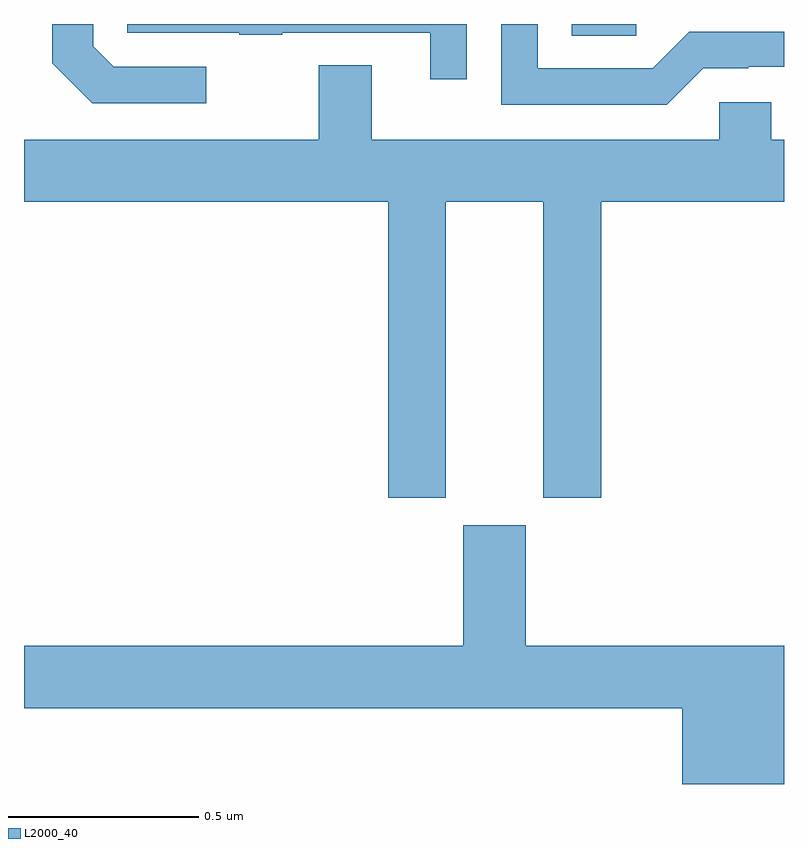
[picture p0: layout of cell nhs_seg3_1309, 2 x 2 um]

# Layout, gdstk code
import gdstk
lib = gdstk.Library(unit=1e-6, precision=1e-09)
def R(c, l, rs):  # rectangles x0, y0, x1, y1
    for r in rs: c.add(gdstk.rectangle(r[:2], r[2:], *l))
def P(c, l, *ps):  # polygons
    for p in ps: c.add(gdstk.Polygon(p, *l))
L2000_40 = (2000, 40)

nhs_seg3_1309 = lib.new_cell('nhs_seg3_1309')
R(nhs_seg3_1309, L2000_40, [(128.442,685.369,128.611,685.4)])
P(nhs_seg3_1309, L2000_40, [(127.48,685.287),(127.236,685.287),(127.182,685.341),(127.182,685.4),(127.074,685.4),(127.074,685.297),(127.179,685.191),(127.48,685.191)],
  [(128.165,685.4),(127.272,685.4),(127.272,685.377),(127.567,685.377),(127.567,685.372),(127.679,685.372),(127.679,685.377),(128.069,685.377),(128.069,685.254),(128.165,685.254)],
  [(128.787,685.284),(128.906,685.284),(128.906,685.287),(129,685.287),(129,685.38),(128.751,685.38),(128.655,685.284),(128.352,685.284),(128.352,685.4),(128.256,685.4),(128.256,685.188),(128.691,685.188)],
  [(128.11,684.932),(128.366,684.932),(128.366,684.153),(128.519,684.153),(128.519,684.932),(129,684.932),(129,685.096),(128.967,685.096),(128.967,685.194),(128.829,685.194),(128.829,685.096),(127.915,685.096),(127.915,685.291),(127.775,685.291),(127.775,685.096),(127,685.096),(127,684.932),(127.958,684.932),(127.958,684.153),(128.11,684.153)],
  [(129,683.764),(128.32,683.764),(128.32,684.081),(128.156,684.081),(128.156,683.764),(127,683.764),(127,683.6),(128.732,683.6),(128.732,683.4),(129,683.4)])

lib.write_gds('nhs_seg3_1309.gds')
